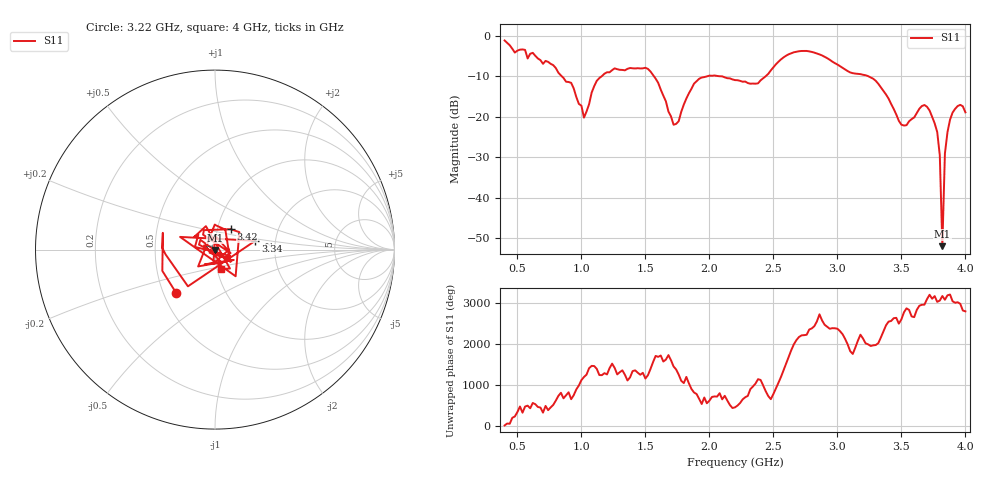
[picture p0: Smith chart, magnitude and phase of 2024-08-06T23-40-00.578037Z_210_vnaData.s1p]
!Created with skrf (http://scikit-rf.org).
# Hz S RI R 50.0
!freq ReS11 ImS11
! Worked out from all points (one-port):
!   181 points, 400 MHz to 4 GHz, reference 50 ohm
!   lowest |S11| = -51.9 dB at 3.82 GHz (marker M1), VSWR 1.01, Z = 50.1 - j0.218 ohm
!   |S11| at or under -10 dB: 1.566 GHz to 1.986 GHz (419.9 MHz wide, 23.6 % of centre); 2.075 GHz to 2.44 GHz (365.5 MHz wide, 16.2 % of centre); 3.241 GHz to end of sweep (the widest 3 of 4)
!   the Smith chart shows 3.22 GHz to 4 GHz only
!   S11 on the Smith chart (normalised r, x): 3.22 GHz: 0.58, -0.32; 3.34 GHz: 1.57, +0.16; 3.42 GHz: 1.16, +0.27; 4 GHz: 1.04, -0.23
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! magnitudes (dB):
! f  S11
! 400 MHz  -1.2
! 860 MHz  -10.4
! 920 MHz  -11.6
! 1.02 GHz  -20.2
! 1.12 GHz  -11.1
! 1.3 GHz  -8.4
! 1.52 GHz  -8.2
! 1.6 GHz  -11.7
! 1.72 GHz  -22.0
! 1.76 GHz  -21.1
! 1.92 GHz  -10.6
! 2.2 GHz  -11.0
! 2.38 GHz  -11.8
! 2.66 GHz  -4.1
! 3.1 GHz  -9.1
! 3.22 GHz  -9.8
! 3.34 GHz  -12.8
! 3.42 GHz  -16.9
! 3.5 GHz  -22.0
! 3.56 GHz  -21.1
! 3.68 GHz  -17.1
! 3.78 GHz  -23.8
! 3.8 GHz  -29.5
! 3.82 GHz  -51.9
! 3.84 GHz  -29.1
! 3.86 GHz  -23.8
! 3.92 GHz  -18.1
! 4 GHz  -18.9
